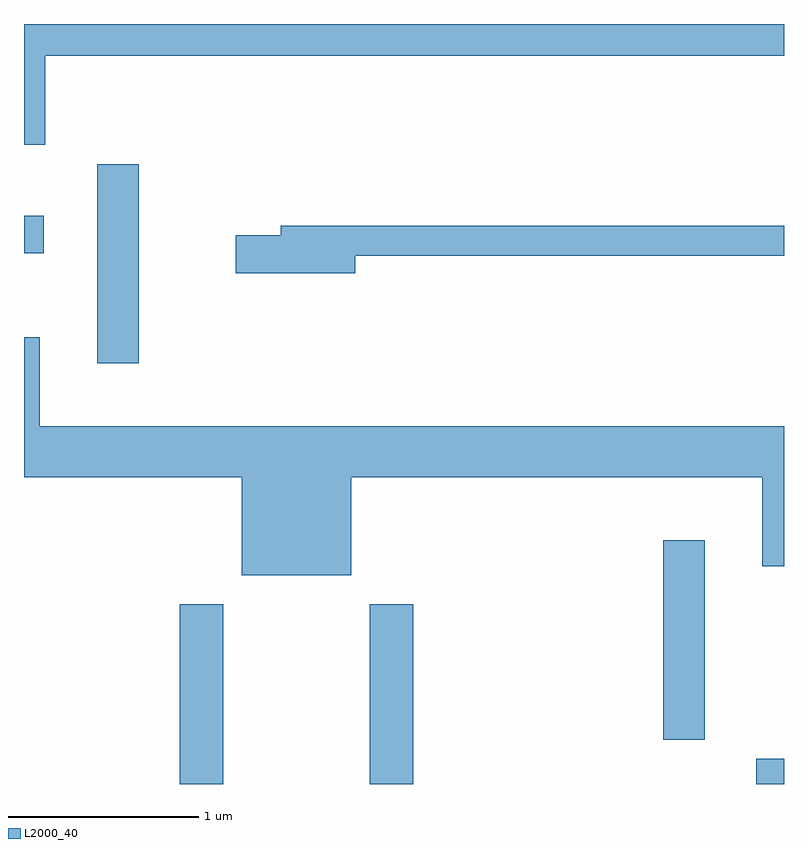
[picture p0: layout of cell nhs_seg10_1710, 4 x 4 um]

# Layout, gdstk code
import gdstk
lib = gdstk.Library(unit=1e-6, precision=1e-09)
def R(c, l, rs):  # rectangles x0, y0, x1, y1
    for r in rs: c.add(gdstk.rectangle(r[:2], r[2:], *l))
def P(c, l, *ps):  # polygons
    for p in ps: c.add(gdstk.Polygon(p, *l))
L2000_40 = (2000, 40)

nhs_seg10_1710 = lib.new_cell('nhs_seg10_1710')
R(nhs_seg10_1710, L2000_40, [(236.431,2114.522,236.659,2115.469), (237.431,2114.522,237.659,2115.469), (239.466,2114.522,239.611,2114.654), (238.976,2114.756,239.194,2115.804), (235.996,2116.736,236.214,2117.784), (235.611,2117.316,235.714,2117.514)])
P(nhs_seg10_1710, L2000_40, [(235.724,2118.356),(239.611,2118.356),(239.611,2118.522),(235.611,2118.522),(235.611,2117.886),(235.724,2117.886)],
  [(237.354,2117.301),(239.611,2117.301),(239.611,2117.459),(236.961,2117.459),(236.961,2117.409),(236.726,2117.409),(236.726,2117.211),(237.354,2117.211)],
  [(237.334,2116.136),(239.496,2116.136),(239.496,2115.668),(239.611,2115.668),(239.611,2116.404),(235.694,2116.404),(235.694,2116.873),(235.611,2116.873),(235.611,2116.136),(236.756,2116.136),(236.756,2115.621),(237.334,2115.621)])

lib.write_gds('nhs_seg10_1710.gds')
